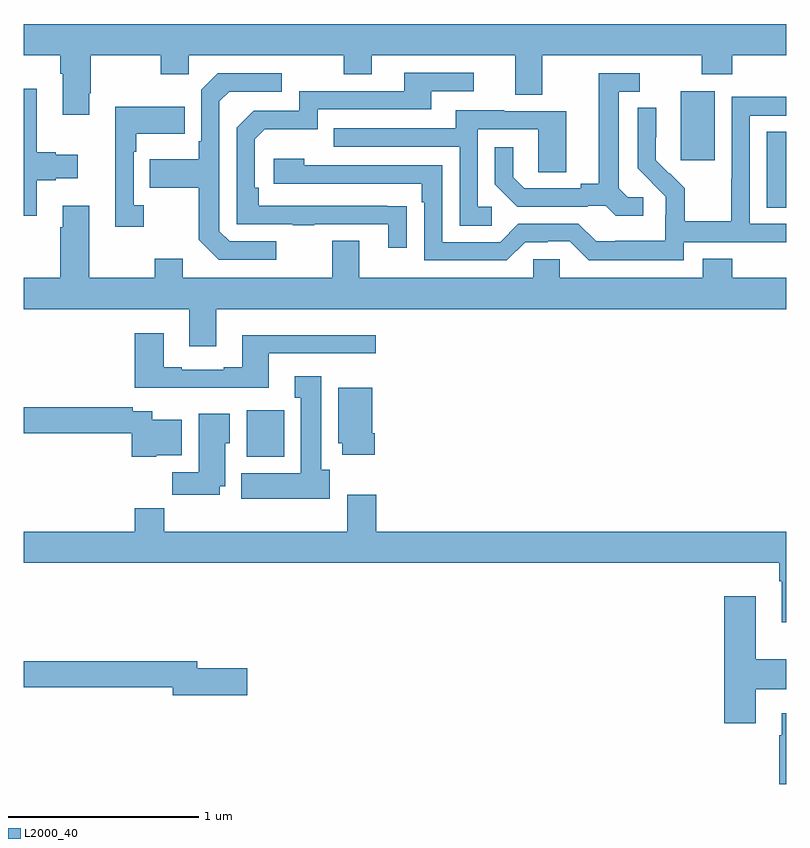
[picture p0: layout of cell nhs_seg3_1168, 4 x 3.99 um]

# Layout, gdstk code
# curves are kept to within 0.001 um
import gdstk
lib = gdstk.Library(unit=1e-6, precision=1e-09)
def R(c, l, rs):  # rectangles x0, y0, x1, y1
    for r in rs: c.add(gdstk.rectangle(r[:2], r[2:], *l))
def P(c, l, *ps):  # polygons
    for p in ps: c.add(gdstk.Polygon(p, *l))
L2000_40 = (2000, 40)

nhs_seg3_1168 = lib.new_cell('nhs_seg3_1168')
R(nhs_seg3_1168, L2000_40, [(172.169,724.118,172.366,724.36), (174.899,725.425,175,725.822), (174.446,725.673,174.625,726.034)])
P(nhs_seg3_1168, L2000_40, [(171,726.224),(171.191,726.224),(171.191,726.128),(171.203,726.128),(171.203,725.913),(171.343,725.913),(171.343,726.025),(171.351,726.025),(171.351,726.224),(171.718,726.224),(171.718,726.125),(171.864,726.125),(171.864,726.224),(172.678,726.224),(172.678,726.125),(172.825,726.125),(172.825,726.224),(173.579,726.224),(173.579,726.016),(173.719,726.016),(173.719,726.224),(174.556,726.224),(174.556,726.125),(174.716,726.125),(174.716,726.224),(175,726.224),(175,726.388),(171,726.388)],
  [(173.009,725.432),(172.232,725.433),(172.232,725.53),(172.212,725.53),(172.212,725.784),(172.265,725.837),(172.542,725.837),(172.542,725.94),(173.137,725.94),(173.137,726.036),(173.362,726.036),(173.362,726.132),(172.997,726.132),(172.997,726.036),(172.446,726.036),(172.446,725.934),(172.206,725.934),(172.116,725.844),(172.116,725.337),(172.411,725.337),(172.411,725.332),(172.523,725.332),(172.523,725.337),(172.913,725.337),(172.913,725.214),(173.009,725.214)],
  [(174.25,725.478),(174.168,725.478),(174.121,725.525),(174.121,726.033),(174.232,726.033),(174.232,726.129),(174.017,726.129),(174.017,725.549),(173.921,725.549),(173.921,725.526),(173.626,725.526),(173.569,725.583),(173.569,725.74),(173.472,725.74),(173.472,725.546),(173.588,725.43),(173.96,725.43),(173.96,725.433),(174.054,725.433),(174.106,725.381),(174.25,725.381)],
  [(172.324,725.247),(172.08,725.247),(172.026,725.301),(172.026,725.982),(172.077,726.033),(172.354,726.033),(172.354,726.129),(172.017,726.129),(171.93,726.042),(171.93,725.773),(171.918,725.773),(171.918,725.677),(171.661,725.677),(171.661,725.53),(171.918,725.53),(171.918,725.257),(172.023,725.151),(172.324,725.151)],
  [(171.067,725.567),(171.167,725.567),(171.167,725.579),(171.283,725.579),(171.283,725.701),(171.167,725.701),(171.167,725.714),(171.067,725.714),(171.067,726.049),(171,726.049),(171,725.382),(171.067,725.382)],
  [(174.462,725.244),(175,725.244),(175,725.34),(174.81,725.34),(174.81,725.907),(175,725.907),(175,726.006),(174.714,726.006),(174.714,725.576),(174.712,725.576),(174.712,725.353),(174.467,725.353),(174.467,725.527),(174.39,725.604),(174.387,725.601),(174.317,725.672),(174.318,725.948),(174.222,725.948),(174.222,725.63),(174.368,725.482),(174.368,725.385),(174.366,725.385),(174.366,725.251),(174.103,725.251),(174.103,725.247),(174.003,725.247),(173.91,725.34),(173.595,725.34),(173.499,725.244),(173.196,725.244),(173.196,725.646),(172.472,725.646),(172.472,725.68),(172.311,725.68),(172.311,725.55),(173.087,725.55),(173.087,725.453),(173.1,725.453),(173.1,725.148),(173.535,725.148),(173.631,725.244),(173.75,725.244),(173.75,725.247),(173.865,725.247),(173.965,725.147),(174.462,725.147)],
  [(171.628,725.438),(171.576,725.438),(171.576,725.717),(171.589,725.717),(171.589,725.813),(171.845,725.813),(171.845,725.953),(171.479,725.953),(171.479,725.325),(171.628,725.325)],
  [(173.455,725.43),(173.382,725.43),(173.382,725.835),(173.7,725.835),(173.7,725.611),(173.845,725.611),(173.845,725.931),(173.521,725.931),(173.521,725.935),(173.267,725.935),(173.267,725.841),(172.627,725.841),(172.627,725.745),(173.286,725.745),(173.286,725.329),(173.455,725.329)],
  [(172.009,724.892),(175,724.892),(175,725.056),(174.716,725.056),(174.716,725.155),(174.563,725.155),(174.563,725.056),(173.811,725.056),(173.811,725.154),(173.673,725.154),(173.673,725.056),(172.759,725.056),(172.759,725.251),(172.619,725.251),(172.619,725.056),(171.835,725.056),(171.835,725.155),(171.688,725.155),(171.688,725.056),(171.343,725.056),(171.343,725.434),(171.203,725.434),(171.203,725.321),(171.191,725.321),(171.191,725.056),(171,725.056),(171,724.892),(171.869,724.892),(171.869,724.698),(172.009,724.698)],
  [(172.285,724.659),(172.846,724.659),(172.846,724.756),(172.145,724.756),(172.145,724.588),(172.049,724.588),(172.049,724.575),(171.829,724.575),(171.829,724.588),(171.733,724.588),(171.733,724.765),(171.581,724.765),(171.581,724.478),(172.285,724.478)],
  [(172.606,724.05),(172.561,724.05),(172.561,724.54),(172.421,724.54),(172.421,724.427),(172.454,724.427),(172.454,724.03),(172.142,724.03),(172.142,723.896),(172.606,723.896)],
  [(172.841,724.24),(172.828,724.24),(172.828,724.48),(172.649,724.48),(172.649,724.188),(172.67,724.188),(172.67,724.128),(172.841,724.128)],
  [(171.696,724.124),(171.829,724.124),(171.829,724.312),(171.675,724.312),(171.675,724.356),(171.572,724.356),(171.572,724.376),(171,724.376),(171,724.24),(171.567,724.24),(171.567,724.118),(171.696,724.118)],
  [(172.027,723.962),(172.057,723.962),(172.057,724.188),(172.081,724.188),(172.081,724.342),(171.917,724.342),(171.917,724.036),(171.778,724.036),(171.778,723.918),(172.027,723.918)],
  [(175,723.724),(172.85,723.724),(172.85,723.919),(172.697,723.919),(172.697,723.724),(171.737,723.724),(171.737,723.848),(171.581,723.848),(171.581,723.724),(171,723.724),(171,723.56),(174.965,723.56),(174.965,723.464),(174.977,723.464),(174.977,723.249),(175,723.249)],
  [(174.841,722.897),(175,722.897),(175,723.055),(174.841,723.055),(174.841,723.385),(174.674,723.385),(174.674,722.718),(174.841,722.718)],
  [(172.171,723.008),(171.91,723.008),(171.91,723.044),(171,723.044),(171,722.908),(171.782,722.908),(171.782,722.866),(172.171,722.866)],
  [(175,722.77),(174.977,722.77),(174.977,722.657),(174.965,722.657),(174.965,722.4),(175,722.4)])

lib.write_gds('nhs_seg3_1168.gds')
